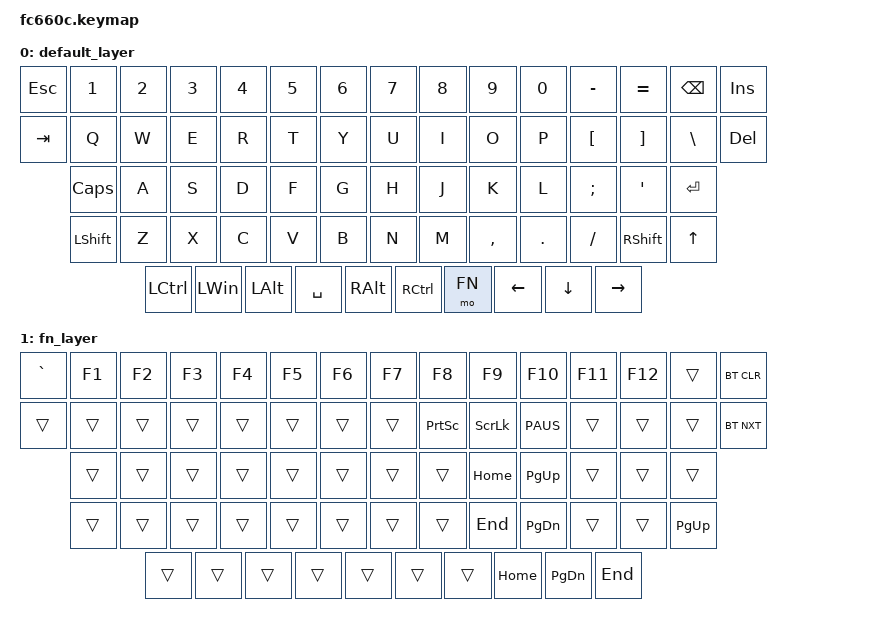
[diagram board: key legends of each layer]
/*
 * Copyright (c) 2020 The ZMK Contributors
 *
 * SPDX-License-Identifier: MIT
 */

#include <behaviors.dtsi>
#include <dt-bindings/zmk/keys.h>
#include <dt-bindings/zmk/bt.h>
#define DEFAULT   0
#define FN        1

/ {
    keymap {
        compatible = "zmk,keymap";

        default_layer {
            bindings = <
&kp ESC   &kp N1    &kp N2    &kp N3    &kp N4    &kp N5    &kp N6    &kp N7    &kp N8    &kp N9    &kp N0    &kp MINUS &kp EQUAL &kp BSPC         &kp INS   
&kp TAB     &kp Q     &kp W     &kp E     &kp R     &kp T     &kp Y     &kp U     &kp I     &kp O     &kp P     &kp LBKT  &kp RBKT  &kp BSLH       &kp DEL   
&kp CAPS      &kp A     &kp S     &kp D     &kp F     &kp G     &kp H     &kp J     &kp K     &kp L     &kp SEMI  &kp APOS  &kp RET   
&kp LSHFT       &kp Z     &kp X     &kp C     &kp V     &kp B     &kp N     &kp M     &kp COMMA &kp DOT   &kp FSLH  &kp RSHFT            &kp UP    
&kp LCTRL        &kp LWIN  &kp LALT                 &kp SPACE                              &kp RALT     &kp RCTRL   &mo FN      &kp LEFT &kp DOWN  &kp RIGHT 
            >;
        };
        fn_layer {
            bindings = <
&kp GRAVE &kp F1     &kp F2    &kp F3    &kp F4    &kp F5    &kp F6    &kp F7    &kp F8    &kp F9    &kp F10   &kp F11  &kp F12   &trans            &bt BT_CLR
&trans      &trans     &trans    &trans    &trans    &trans    &trans    &trans    &kp PSCRN &kp SLCK  &kp PAUS  &trans    &trans    &trans         &bt BT_NXT
&trans        &trans     &trans    &trans    &trans    &trans    &trans    &trans    &kp HOME  &kp PG_UP &trans    &trans    &trans    
&trans          &trans    &trans    &trans    &trans    &trans    &trans    &trans    &kp END   &kp PG_DN &trans    &trans               &kp PG_UP 
&trans           &trans     &trans                   &trans                                 &trans       &trans      &trans      &kp HOME &kp PG_DN &kp END   
            >;
        };

    };
};

/*
&kp Q     &kp W     &kp E     &kp TAB   &kp R     &kp U     &kp T     &kp Y     &kp O     &kp P     &kp LBKT  &kp I     &kp RBKT  &trans    &kp BSLH  &kp DEL   
&kp N1    &kp N2    &kp N3    &kp ESC   &kp N4    &kp N7    &kp N5    &kp N6    &kp N9    &kp N0    &kp MINUS &kp N8    &kp EQUAL &trans    &kp BSPC  &kp INS   
&trans    &kp LWIN  &kp LALT  &kp LCTRL &trans    &trans    &trans    &kp SPACE &kp RALT  &trans    &kp RCTRL &trans    &trans    &kp DOWN  &kp LEFT  &kp RIGHT 
&trans    &kp Z     &kp X     &kp LSHFT &kp C     &kp N     &kp V     &kp B     &kp COMMA &kp DOT   &kp FSLH  &kp M     &kp RSHFT &kp UP    &trans    &trans    
&kp A     &kp S     &kp D     &kp CAPS  &kp F     &kp J     &kp G     &kp H     &kp L     &kp SEMI  &kp APOS  &kp K     &trans    &trans    &kp RET   &trans
*/
